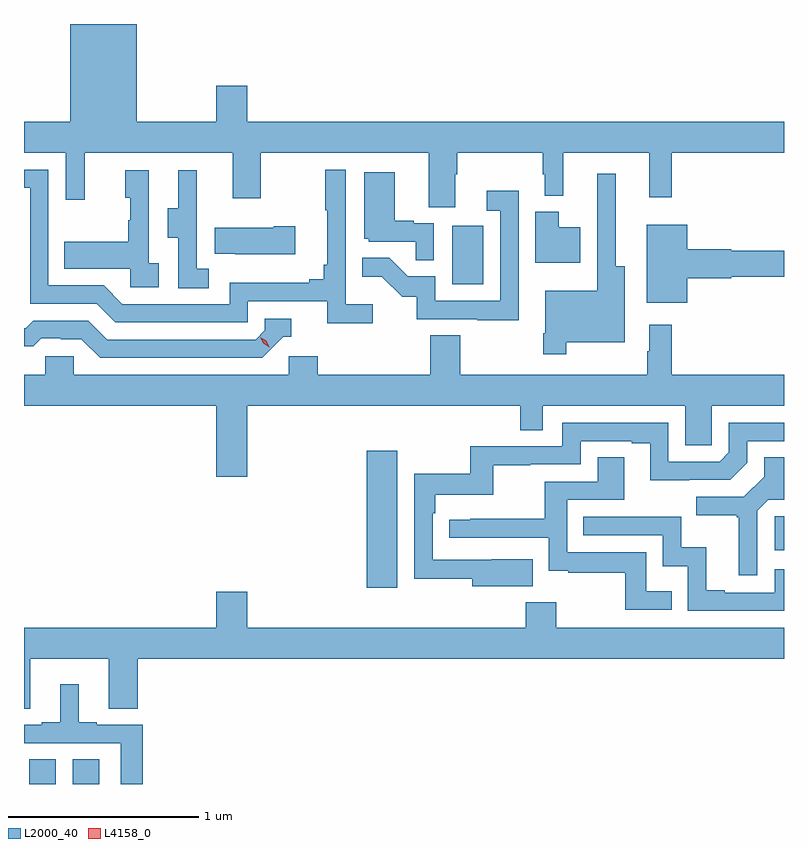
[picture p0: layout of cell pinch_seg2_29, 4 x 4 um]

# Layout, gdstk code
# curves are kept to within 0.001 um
import gdstk
lib = gdstk.Library(unit=1e-6, precision=1e-09)
def R(c, l, rs):  # rectangles x0, y0, x1, y1
    for r in rs: c.add(gdstk.rectangle(r[:2], r[2:], *l))
def P(c, l, *ps):  # polygons
    for p in ps: c.add(gdstk.Polygon(p, *l))
L2000_40 = (2000, 40)
L4158_0 = (4158, 0)

pinch_seg2_29 = lib.new_cell('pinch_seg2_29')
R(pinch_seg2_29, L2000_40, [(1111.076,656.302,1111.216,656.432), (1111.304,656.302,1111.444,656.432), (1112.852,657.336,1113.013,658.057), (1114.998,657.531,1115.048,657.711), (1113.302,658.932,1113.466,659.239)])
P(pinch_seg2_29, L2000_40, [(1113.319,659.512),(1113.327,659.512),(1113.327,659.624),(1113.777,659.624),(1113.777,659.512),(1113.788,659.512),(1113.788,659.399),(1113.887,659.399),(1113.887,659.624),(1114.34,659.624),(1114.34,659.391),(1114.457,659.391),(1114.457,659.624),(1115.048,659.624),(1115.048,659.788),(1112.224,659.788),(1112.224,659.977),(1112.06,659.977),(1112.06,659.788),(1111.642,659.788),(1111.642,660.302),(1111.292,660.302),(1111.292,659.788),(1111.048,659.788),(1111.048,659.624),(1111.269,659.624),(1111.269,659.376),(1111.367,659.376),(1111.367,659.624),(1112.147,659.624),(1112.147,659.385),(1112.295,659.385),(1112.295,659.624),(1113.179,659.624),(1113.179,659.338),(1113.319,659.338)],
  [(1112.884,658.828),(1112.742,658.828),(1112.742,659.536),(1112.634,659.536),(1112.634,659.323),(1112.645,659.323),(1112.645,659.035),(1112.626,659.035),(1112.626,658.958),(1112.549,658.958),(1112.549,658.939),(1112.13,658.939),(1112.13,658.827),(1111.566,658.827),(1111.467,658.926),(1111.176,658.926),(1111.176,659.535),(1111.048,659.535),(1111.048,659.439),(1111.08,659.439),(1111.08,658.83),(1111.43,658.83),(1111.529,658.731),(1112.226,658.731),(1112.226,658.842),(1112.645,658.842),(1112.645,658.726),(1112.884,658.726)],
  [(1112.02,659.015),(1111.956,659.015),(1111.956,659.319),(1111.958,659.319),(1111.958,659.533),(1111.859,659.533),(1111.859,659.331),(1111.805,659.331),(1111.805,659.176),(1111.86,659.176),(1111.86,658.912),(1112.02,658.912)],
  [(1111.756,659.042),(1111.704,659.042),(1111.704,659.533),(1111.58,659.533),(1111.58,659.388),(1111.606,659.388),(1111.606,659.27),(1111.596,659.27),(1111.596,659.155),(1111.261,659.155),(1111.261,659.015),(1111.608,659.015),(1111.608,658.917),(1111.756,658.917)],
  [(1113.204,659.253),(1113.098,659.253),(1113.098,659.266),(1112.998,659.266),(1112.998,659.521),(1112.84,659.521),(1112.84,659.172),(1112.862,659.172),(1112.862,659.157),(1113.109,659.157),(1113.109,659.059),(1113.204,659.059)],
  [(1113.901,658.628),(1114.21,658.628),(1114.21,659.026),(1114.162,659.026),(1114.162,659.515),(1114.065,659.515),(1114.065,658.897),(1113.792,658.897),(1113.792,658.675),(1113.78,658.675),(1113.78,658.563),(1113.901,658.563)],
  [(1113.651,659.425),(1113.483,659.425),(1113.483,659.319),(1113.555,659.319),(1113.555,658.845),(1113.213,658.845),(1113.213,658.974),(1113.069,658.974),(1112.971,659.072),(1112.827,659.072),(1112.827,658.973),(1112.931,658.973),(1113.038,658.866),(1113.115,658.866),(1113.115,658.749),(1113.433,658.749),(1113.433,658.744),(1113.651,658.744)],
  [(1113.976,659.233),(1113.862,659.233),(1113.862,659.314),(1113.74,659.314),(1113.74,659.045),(1113.976,659.045)],
  [(1114.54,658.964),(1114.77,658.964),(1114.77,658.972),(1115.048,658.972),(1115.048,659.108),(1114.77,659.108),(1114.77,659.116),(1114.54,659.116),(1114.54,659.245),(1114.325,659.245),(1114.325,658.835),(1114.54,658.835)],
  [(1112.476,659.238),(1112.363,659.238),(1112.363,659.23),(1112.053,659.23),(1112.053,659.093),(1112.161,659.093),(1112.161,659.09),(1112.476,659.09)],
  [(1112.412,658.656),(1112.455,658.656),(1112.455,658.752),(1112.316,658.752),(1112.316,658.689),(1112.268,658.641),(1111.485,658.641),(1111.386,658.74),(1111.097,658.74),(1111.058,658.701),(1111.048,658.701),(1111.048,658.605),(1111.097,658.605),(1111.139,658.647),(1111.242,658.647),(1111.242,658.644),(1111.349,658.644),(1111.448,658.545),(1112.301,658.545)],
  [(1112.06,657.918),(1112.224,657.918),(1112.224,658.292),(1113.661,658.292),(1113.661,658.165),(1113.777,658.165),(1113.777,658.292),(1114.529,658.292),(1114.529,658.084),(1114.668,658.084),(1114.668,658.292),(1115.048,658.292),(1115.048,658.456),(1114.457,658.456),(1114.457,658.72),(1114.34,658.72),(1114.34,658.58),(1114.329,658.58),(1114.329,658.456),(1113.345,658.456),(1113.345,658.664),(1113.185,658.664),(1113.185,658.456),(1112.594,658.456),(1112.594,658.554),(1112.442,658.554),(1112.442,658.456),(1111.311,658.456),(1111.311,658.554),(1111.161,658.554),(1111.161,658.456),(1111.048,658.456),(1111.048,658.292),(1112.06,658.292)],
  [(1113.725,657.484),(1113.198,657.483),(1113.198,657.728),(1113.212,657.728),(1113.212,657.824),(1113.517,657.824),(1113.517,657.979),(1113.713,657.979),(1113.713,657.984),(1113.978,657.984),(1113.978,658.107),(1114.247,658.107),(1114.247,658.095),(1114.343,658.095),(1114.343,657.902),(1114.764,657.903),(1114.854,657.993),(1114.854,658.107),(1115.048,658.107),(1115.048,658.203),(1114.758,658.203),(1114.758,658.047),(1114.71,657.999),(1114.44,657.999),(1114.44,658.203),(1113.882,658.203),(1113.882,658.08),(1113.396,658.08),(1113.396,657.934),(1113.102,657.934),(1113.102,657.382),(1113.407,657.382),(1113.407,657.344),(1113.725,657.344)],
  [(1114.908,657.741),(1114.965,657.798),(1115.048,657.798),(1115.048,658.022),(1114.943,658.022),(1114.943,657.92),(1114.836,657.813),(1114.587,657.813),(1114.587,657.716),(1114.8,657.716),(1114.8,657.705),(1114.811,657.705),(1114.811,657.402),(1114.908,657.402)],
  [(1114.457,657.316),(1114.323,657.316),(1114.323,657.522),(1113.906,657.522),(1113.906,657.798),(1114.207,657.798),(1114.207,658.022),(1114.067,658.022),(1114.067,657.894),(1113.79,657.894),(1113.79,657.698),(1113.397,657.698),(1113.397,657.693),(1113.285,657.693),(1113.285,657.597),(1113.81,657.597),(1113.81,657.425),(1113.913,657.425),(1113.913,657.414),(1114.212,657.414),(1114.212,657.219),(1114.457,657.219)],
  [(1115.048,657.432),(1114.998,657.432),(1114.998,657.309),(1114.735,657.309),(1114.735,657.322),(1114.639,657.322),(1114.639,657.547),(1114.506,657.547),(1114.506,657.708),(1113.991,657.708),(1113.991,657.612),(1114.41,657.612),(1114.41,657.449),(1114.542,657.449),(1114.542,657.213),(1115.048,657.213)],
  [(1111.081,656.96),(1111.493,656.96),(1111.493,656.698),(1111.646,656.698),(1111.646,656.96),(1115.048,656.96),(1115.048,657.124),(1113.849,657.124),(1113.849,657.259),(1113.689,657.259),(1113.689,657.124),(1112.224,657.124),(1112.224,657.313),(1112.06,657.313),(1112.06,657.124),(1111.048,657.124),(1111.048,656.698),(1111.081,656.698)],
  [(1111.673,656.613),(1111.432,656.613),(1111.432,656.626),(1111.336,656.626),(1111.336,656.827),(1111.238,656.827),(1111.238,656.626),(1111.142,656.626),(1111.142,656.613),(1111.048,656.613),(1111.048,656.517),(1111.557,656.517),(1111.557,656.302),(1111.673,656.302)])
P(pinch_seg2_29, L4158_0, [(1112.338,658.602),(1112.307,658.622),(1112.291,658.654),(1112.291,658.654),(1112.292,658.654),(1112.322,658.635),(1112.338,658.603),(1112.338,658.602)])

lib.write_gds('pinch_seg2_29.gds')
